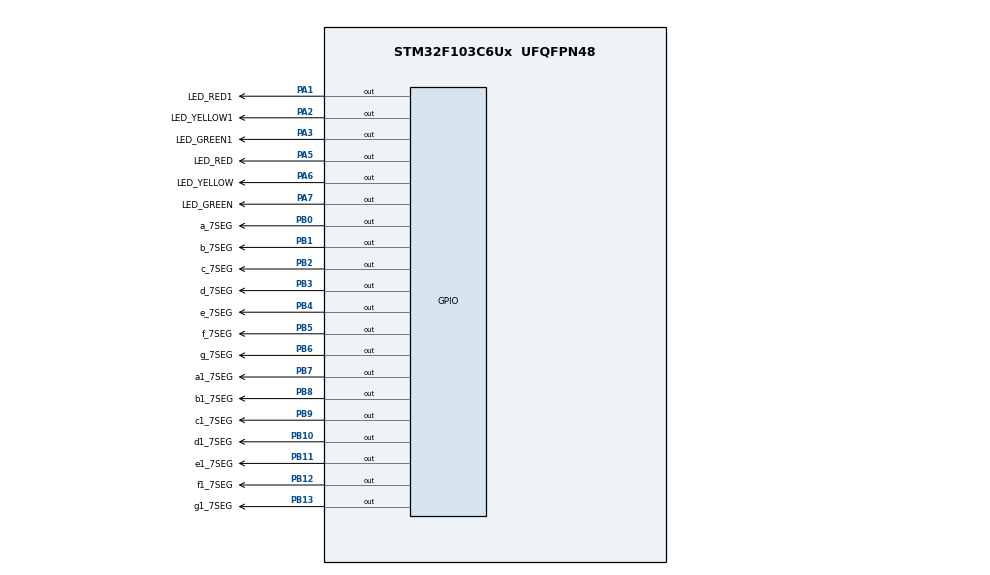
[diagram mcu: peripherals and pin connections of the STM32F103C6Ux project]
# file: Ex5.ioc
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Mcu.Family=STM32F1
Mcu.Name=STM32F103C6Ux
Mcu.Package=UFQFPN48
NVIC.PriorityGroup=NVIC_PRIORITYGROUP_4
PA1.GPIO_Label=LED_RED1
PA1.Signal=GPIO_Output
PA2.GPIO_Label=LED_YELLOW1
PA2.Signal=GPIO_Output
PA3.GPIO_Label=LED_GREEN1
PA3.Signal=GPIO_Output
PA5.GPIO_Label=LED_RED
PA5.Signal=GPIO_Output
PA6.GPIO_Label=LED_YELLOW
PA6.Signal=GPIO_Output
PA7.GPIO_Label=LED_GREEN
PA7.Signal=GPIO_Output
PB0.GPIO_Label=a_7SEG
PB0.Signal=GPIO_Output
PB1.GPIO_Label=b_7SEG
PB1.Signal=GPIO_Output
PB10.GPIO_Label=d1_7SEG
PB10.Signal=GPIO_Output
PB11.GPIO_Label=e1_7SEG
PB11.Signal=GPIO_Output
PB12.GPIO_Label=f1_7SEG
PB12.Signal=GPIO_Output
PB13.GPIO_Label=g1_7SEG
PB13.Signal=GPIO_Output
PB2.GPIO_Label=c_7SEG
PB2.Signal=GPIO_Output
PB3.GPIO_Label=d_7SEG
PB3.Signal=GPIO_Output
PB4.GPIO_Label=e_7SEG
PB4.Signal=GPIO_Output
PB5.GPIO_Label=f_7SEG
PB5.Signal=GPIO_Output
PB6.GPIO_Label=g_7SEG
PB6.Signal=GPIO_Output
PB7.GPIO_Label=a1_7SEG
PB7.Signal=GPIO_Output
PB8.GPIO_Label=b1_7SEG
PB8.Signal=GPIO_Output
PB9.GPIO_Label=c1_7SEG
PB9.Signal=GPIO_Output
ProjectManager.HeapSize=0x200
ProjectManager.StackSize=0x400
ProjectManager.TargetToolchain=STM32CubeIDE
RCC.APB1Freq_Value=8000000
RCC.APB2Freq_Value=8000000
VP_SYS_VS_ND.Mode=No_Debug
board=custom

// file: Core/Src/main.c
/* USER CODE BEGIN Header */
/**
  ******************************************************************************
  * @file           : main.c
  * @brief          : Main program body
  ******************************************************************************
  * @attention
  *
  * <h2><center>&copy; Copyright (c) 2022 STMicroelectronics.
  * All rights reserved.</center></h2>
  *
  * This software component is licensed by ST under BSD 3-Clause license,
  * the "License"; You may not use this file except in compliance with the
  * License. You may obtain a copy of the License at:
  *                        opensource.org/licenses/BSD-3-Clause
  *
  ******************************************************************************
  */
/* USER CODE END Header */
#include "main.h"

void SystemClock_Config(void);
static void MX_GPIO_Init(void);

/* USER CODE BEGIN 0 */
void traffic_light(char state){
	  if (state == 'g'){ 	//green turns on
		  HAL_GPIO_WritePin ( LED_GREEN_GPIO_Port , LED_GREEN_Pin ,
		  GPIO_PIN_RESET ) ;
		  HAL_GPIO_WritePin ( LED_RED_GPIO_Port , LED_RED_Pin ,
		  GPIO_PIN_SET ) ;
		  HAL_GPIO_WritePin ( LED_YELLOW_GPIO_Port , LED_YELLOW_Pin ,
		  GPIO_PIN_SET ) ;
	  }

	  if (state == 'y'){ 	//yellow turns on
		  HAL_GPIO_WritePin ( LED_YELLOW_GPIO_Port , LED_YELLOW_Pin ,
		  GPIO_PIN_RESET ) ;
		  HAL_GPIO_WritePin ( LED_GREEN_GPIO_Port , LED_GREEN_Pin ,
		  GPIO_PIN_SET ) ;
		  HAL_GPIO_WritePin ( LED_RED_GPIO_Port , LED_RED_Pin ,
		  GPIO_PIN_SET ) ;
	  }

	  if( state == 'r') { 	//red turns on
		  HAL_GPIO_WritePin ( LED_RED_GPIO_Port , LED_RED_Pin ,
		  GPIO_PIN_RESET ) ;
		  HAL_GPIO_WritePin ( LED_YELLOW_GPIO_Port , LED_YELLOW_Pin ,
		  GPIO_PIN_SET ) ;
		  HAL_GPIO_WritePin ( LED_GREEN_GPIO_Port , LED_GREEN_Pin ,
		  GPIO_PIN_SET ) ;
	  }
}

void traffic_light1(char state){
	  if (state == 'g'){ 	//green turns on
		  HAL_GPIO_WritePin ( LED_GREEN1_GPIO_Port , LED_GREEN1_Pin ,
		  GPIO_PIN_RESET ) ;
		  HAL_GPIO_WritePin ( LED_RED1_GPIO_Port , LED_RED1_Pin ,
		  GPIO_PIN_SET ) ;
		  HAL_GPIO_WritePin ( LED_YELLOW1_GPIO_Port , LED_YELLOW1_Pin ,
		  GPIO_PIN_SET ) ;
	  }

	  if (state == 'y'){ 	//yellow turns on
		  HAL_GPIO_WritePin ( LED_YELLOW1_GPIO_Port , LED_YELLOW1_Pin ,
		  GPIO_PIN_RESET ) ;
		  HAL_GPIO_WritePin ( LED_GREEN1_GPIO_Port , LED_GREEN1_Pin ,
		  GPIO_PIN_SET ) ;
		  HAL_GPIO_WritePin ( LED_RED1_GPIO_Port , LED_RED1_Pin ,
		  GPIO_PIN_SET ) ;
	  }

	  if( state == 'r') { 	//red turns on
		  HAL_GPIO_WritePin ( LED_RED1_GPIO_Port , LED_RED1_Pin ,
		  GPIO_PIN_RESET ) ;
		  HAL_GPIO_WritePin ( LED_YELLOW1_GPIO_Port , LED_YELLOW1_Pin ,
		  GPIO_PIN_SET ) ;
		  HAL_GPIO_WritePin ( LED_GREEN1_GPIO_Port , LED_GREEN1_Pin ,
		  GPIO_PIN_SET ) ;
	  }
}

void display7SEG (int counter){
	HAL_GPIO_WritePin(GPIOB, a_7SEG_Pin|b_7SEG_Pin|c_7SEG_Pin|d_7SEG_Pin
		  			  		 |e_7SEG_Pin|f_7SEG_Pin|g_7SEG_Pin, 0);
	switch (counter){
		case 0:
			HAL_GPIO_WritePin(GPIOB, g_7SEG_Pin, 1);
	  		break;

		case 1:
			HAL_GPIO_WritePin(GPIOB, a_7SEG_Pin|d_7SEG_Pin|e_7SEG_Pin|f_7SEG_Pin|g_7SEG_Pin, 1);
	  		break;

		case 2:
	  		HAL_GPIO_WritePin(GPIOB, c_7SEG_Pin|f_7SEG_Pin, 1);
	  		break;

	  	  case 3:
	  		HAL_GPIO_WritePin(GPIOB, e_7SEG_Pin|f_7SEG_Pin, 1);
	  		break;

	  	  case 4:
	  		HAL_GPIO_WritePin(GPIOB, a_7SEG_Pin|d_7SEG_Pin|e_7SEG_Pin, 1);
	  		break;

	  	  case 5:
	  		HAL_GPIO_WritePin(GPIOB, b_7SEG_Pin|e_7SEG_Pin, 1);
	  		break;

	  	  case 6:
	  		HAL_GPIO_WritePin(GPIOB, b_7SEG_Pin, 1);
	  		break;

	  	  case 7:
	  		HAL_GPIO_WritePin(GPIOB, d_7SEG_Pin|e_7SEG_Pin|f_7SEG_Pin|g_7SEG_Pin, 1);
	  		break;

	  	  case 8:
	  		break;

	  	  case 9:
	  		HAL_GPIO_WritePin(GPIOB, e_7SEG_Pin, 1);
	  		break;

	  	  default:
	  		HAL_GPIO_WritePin(GPIOB, a_7SEG_Pin|b_7SEG_Pin|c_7SEG_Pin|d_7SEG_Pin
	  			  		             |e_7SEG_Pin|f_7SEG_Pin|g_7SEG_Pin, 1);
	  		break;
	  }
}

void display7SEG_1 (int counter){
	HAL_GPIO_WritePin(GPIOB, a1_7SEG_Pin|b1_7SEG_Pin|c1_7SEG_Pin|d1_7SEG_Pin
		  			  		 |e1_7SEG_Pin|f1_7SEG_Pin|g1_7SEG_Pin, 0);
	switch (counter){
		case 0:
			HAL_GPIO_WritePin(GPIOB, g1_7SEG_Pin, 1);
	  		break;

		case 1:
			HAL_GPIO_WritePin(GPIOB, a1_7SEG_Pin|d1_7SEG_Pin|e1_7SEG_Pin|f1_7SEG_Pin|g1_7SEG_Pin, 1);
	  		break;

		case 2:
	  		HAL_GPIO_WritePin(GPIOB, c1_7SEG_Pin|f1_7SEG_Pin, 1);
	  		break;

	  	  case 3:
	  		HAL_GPIO_WritePin(GPIOB, e1_7SEG_Pin|f1_7SEG_Pin, 1);
	  		break;

	  	  case 4:
	  		HAL_GPIO_WritePin(GPIOB, a1_7SEG_Pin|d1_7SEG_Pin|e1_7SEG_Pin, 1);
	  		break;

	  	  case 5:
	  		HAL_GPIO_WritePin(GPIOB, b1_7SEG_Pin|e1_7SEG_Pin, 1);
	  		break;

	  	  case 6:
	  		HAL_GPIO_WritePin(GPIOB, b1_7SEG_Pin, 1);
	  		break;

	  	  case 7:
	  		HAL_GPIO_WritePin(GPIOB, d1_7SEG_Pin|e1_7SEG_Pin|f1_7SEG_Pin|g1_7SEG_Pin, 1);
	  		break;

	  	  case 8:
	  		break;

	  	  case 9:
	  		HAL_GPIO_WritePin(GPIOB, e1_7SEG_Pin, 1);
	  		break;

	  	  default:
	  		HAL_GPIO_WritePin(GPIOB, a1_7SEG_Pin|b1_7SEG_Pin|c1_7SEG_Pin|d1_7SEG_Pin
	  			  		             |e1_7SEG_Pin|f1_7SEG_Pin|g1_7SEG_Pin, 1);
	  		break;
	  }
}

/* USER CODE END 0 */

int main(void)
{

  /* MCU Configuration--------------------------------------------------------*/

  /* Reset of all peripherals, Initializes the Flash interface and the Systick. */
  HAL_Init();

  /* Configure the system clock */
  SystemClock_Config();

  /* Initialize all configured peripherals */
  MX_GPIO_Init();

  /* Infinite loop */
  /* USER CODE BEGIN WHILE */
  char state = 'r';		//Init state for traffic light 1
  char state1 = 'g';	//Init state for traffic light 2
  int countdown = 4;	//countdown value for traffic light 1
  int countdown1 = 2;	//countdown value for traffic light 2
  while (1)
  {
	if (countdown < 0){
		if (state == 'r') {
			state = 'g';
			countdown = 2;
		}
		else if (state == 'g') {
			state = 'y';
			countdown = 1;
		}
		else if (state == 'y') {
			state = 'r';
			countdown = 4;
		}
	}

	if (countdown1 < 0){
		if (state1 == 'r') {
			state1 = 'g';
			countdown1 = 2;
		}
		else if (state1 == 'g') {
			state1 = 'y';
			countdown1 = 1;
		}
		else if (state1 == 'y') {
			state1 = 'r';
			countdown1 = 4;
		}
	}
	traffic_light(state);
	traffic_light1(state1);
	display7SEG(countdown--);
	display7SEG_1(countdown1--);	//This function is similar to the
									//previous display7SEG function
	HAL_Delay (500) ;
    /* USER CODE END WHILE */

  }
}

void SystemClock_Config(void)
{
  RCC_OscInitTypeDef RCC_OscInitStruct = {0};
  RCC_ClkInitTypeDef RCC_ClkInitStruct = {0};

  /** Initializes the RCC Oscillators according to the specified parameters
  * in the RCC_OscInitTypeDef structure.
  */
  RCC_OscInitStruct.OscillatorType = RCC_OSCILLATORTYPE_HSI;
  RCC_OscInitStruct.HSIState = RCC_HSI_ON;
  RCC_OscInitStruct.HSICalibrationValue = RCC_HSICALIBRATION_DEFAULT;
  RCC_OscInitStruct.PLL.PLLState = RCC_PLL_NONE;
  if (HAL_RCC_OscConfig(&RCC_OscInitStruct) != HAL_OK)
  {
    Error_Handler();
  }
  /** Initializes the CPU, AHB and APB buses clocks
  */
  RCC_ClkInitStruct.ClockType = RCC_CLOCKTYPE_HCLK|RCC_CLOCKTYPE_SYSCLK
                              |RCC_CLOCKTYPE_PCLK1|RCC_CLOCKTYPE_PCLK2;
  RCC_ClkInitStruct.SYSCLKSource = RCC_SYSCLKSOURCE_HSI;
  RCC_ClkInitStruct.AHBCLKDivider = RCC_SYSCLK_DIV1;
  RCC_ClkInitStruct.APB1CLKDivider = RCC_HCLK_DIV1;
  RCC_ClkInitStruct.APB2CLKDivider = RCC_HCLK_DIV1;

  if (HAL_RCC_ClockConfig(&RCC_ClkInitStruct, FLASH_LATENCY_0) != HAL_OK)
  {
    Error_Handler();
  }
}

static void MX_GPIO_Init(void)
{
  GPIO_InitTypeDef GPIO_InitStruct = {0};

  /* GPIO Ports Clock Enable */
  __HAL_RCC_GPIOA_CLK_ENABLE();
  __HAL_RCC_GPIOB_CLK_ENABLE();

  /*Configure GPIO pin Output Level */
  HAL_GPIO_WritePin(GPIOA, LED_RED1_Pin|LED_YELLOW1_Pin|LED_GREEN1_Pin|LED_RED_Pin
                          |LED_YELLOW_Pin|LED_GREEN_Pin, GPIO_PIN_RESET);

  /*Configure GPIO pin Output Level */
  HAL_GPIO_WritePin(GPIOB, a_7SEG_Pin|b_7SEG_Pin|c_7SEG_Pin|d1_7SEG_Pin
                          |e1_7SEG_Pin|f1_7SEG_Pin|g1_7SEG_Pin|d_7SEG_Pin
                          |e_7SEG_Pin|f_7SEG_Pin|g_7SEG_Pin|a1_7SEG_Pin
                          |b1_7SEG_Pin|c1_7SEG_Pin, GPIO_PIN_RESET);

  /*Configure GPIO pins : LED_RED1_Pin LED_YELLOW1_Pin LED_GREEN1_Pin LED_RED_Pin
                           LED_YELLOW_Pin LED_GREEN_Pin */
  GPIO_InitStruct.Pin = LED_RED1_Pin|LED_YELLOW1_Pin|LED_GREEN1_Pin|LED_RED_Pin
                          |LED_YELLOW_Pin|LED_GREEN_Pin;
  GPIO_InitStruct.Mode = GPIO_MODE_OUTPUT_PP;
  GPIO_InitStruct.Pull = GPIO_NOPULL;
  GPIO_InitStruct.Speed = GPIO_SPEED_FREQ_LOW;
  HAL_GPIO_Init(GPIOA, &GPIO_InitStruct);

  /*Configure GPIO pins : a_7SEG_Pin b_7SEG_Pin c_7SEG_Pin d1_7SEG_Pin
                           e1_7SEG_Pin f1_7SEG_Pin g1_7SEG_Pin d_7SEG_Pin
                           e_7SEG_Pin f_7SEG_Pin g_7SEG_Pin a1_7SEG_Pin
                           b1_7SEG_Pin c1_7SEG_Pin */
  GPIO_InitStruct.Pin = a_7SEG_Pin|b_7SEG_Pin|c_7SEG_Pin|d1_7SEG_Pin
                          |e1_7SEG_Pin|f1_7SEG_Pin|g1_7SEG_Pin|d_7SEG_Pin
                          |e_7SEG_Pin|f_7SEG_Pin|g_7SEG_Pin|a1_7SEG_Pin
                          |b1_7SEG_Pin|c1_7SEG_Pin;
  GPIO_InitStruct.Mode = GPIO_MODE_OUTPUT_PP;
  GPIO_InitStruct.Pull = GPIO_NOPULL;
  GPIO_InitStruct.Speed = GPIO_SPEED_FREQ_LOW;
  HAL_GPIO_Init(GPIOB, &GPIO_InitStruct);

}

void Error_Handler(void)
{
  __disable_irq();
  while (1)
  {
  }
}

/************************ (C) COPYRIGHT STMicroelectronics *****END OF FILE****/
